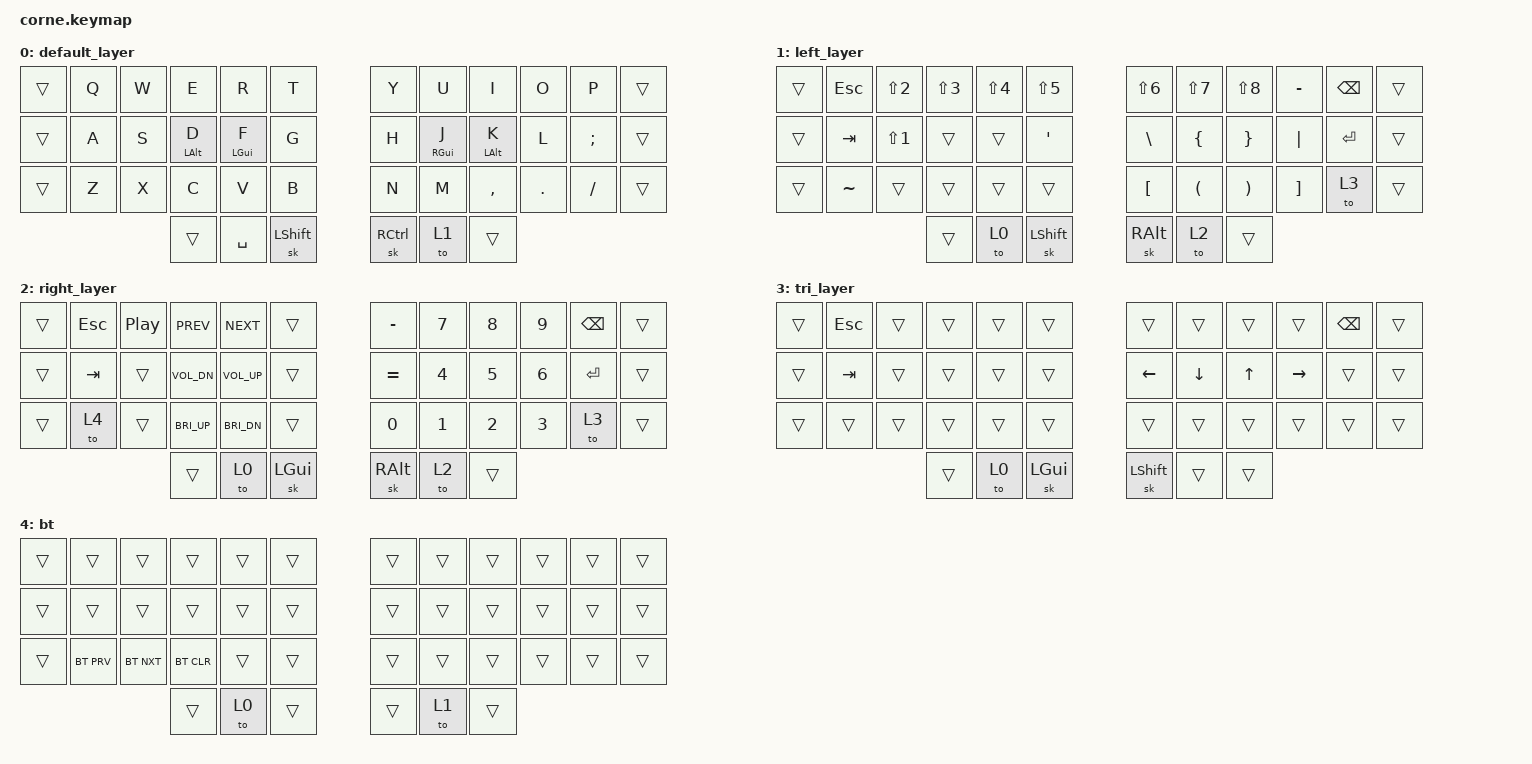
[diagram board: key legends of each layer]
/*
 * Copyright (c) 2020 The ZMK Contributors
 *
 * SPDX-License-Identifier: MIT
 */

#include <behaviors.dtsi>
#include <dt-bindings/zmk/keys.h>
#include <dt-bindings/zmk/bt.h>

/ {



     behaviors {
            hm: homerow_mods {
                compatible = "zmk,behavior-hold-tap";
                label = "HOMEROW_MODS";
                #binding-cells = <2>;
                tapping-term-ms = <200>;
                quick_tap_ms = <0>;
                flavor = "tap-preferred";
                bindings = <&kp>, <&kp>;
            };
        td: tapdance {
                compatible = "zmk,behavior-hold-tap";
                label = "TAPDANCE";
                #binding-cells = <2>;
                tapping-term-ms = <150>;
                quick_tap_ms = <0>;
                flavor = "tap-preferred";
                bindings = <&kp>, <&kp>;
            };
        };



        keymap {
                compatible = "zmk,keymap";

                default_layer {
                        bindings = <
   &trans  &kp Q &kp W &kp E &kp R &kp T               &kp Y &kp U  &kp I     &kp O   &kp P             &trans
   &trans  &kp A &kp S &hm LALT D &hm LGUI F &kp G     &kp H &hm RGUI J  &hm LALT K    &kp L   &kp SEMI &trans
   &trans  &kp Z &kp X &kp C &kp V &kp B               &kp N &kp M  &kp COMMA &kp DOT &kp FSLH          &trans
   &trans                &kp SPACE &sk LSHIFT           &sk RCTRL &to 1                                 &trans
                        >;
                };

                left_layer {
                        bindings = <
   &trans  &kp ESC     &kp LS(N2)   &kp LS(N3)  &kp LS(N4) &kp LS(N5)     &kp LS(N6)   &kp LS(N7)   &kp LS(N8)   &kp MINUS  &kp BSPC  &trans
   &trans  &kp TAB     &kp LS(N1)   &trans      &trans     &kp SQT        &kp BSLH     &kp LBRC     &kp RBRC     &kp PIPE   &kp ENTER &trans
   &trans  &kp TILDE   &trans       &trans      &trans     &trans         &kp LBKT     &kp LPRN     &kp RPRN     &kp RBKT   &to 3     &trans
   &trans                                      &to 0   &sk LSHIFT         &sk RALT &to 2                           &trans
                        >;
                };

                right_layer {
                        bindings = <
   &trans  &kp ESC &kp C_PP &kp C_PREV    &kp C_NEXT   &trans     &kp MINUS  &kp N7  &kp N8  &kp N9  &kp BSPC   &trans
   &trans  &kp TAB &trans   &kp C_VOL_DN  &kp C_VOL_UP &trans     &kp EQUAL  &kp N4  &kp N5  &kp N6  &kp ENTER  &trans
   &trans  &to 4   &trans   &kp C_BRI_UP  &kp C_BRI_DN &trans     &kp N0     &kp N1  &kp N2  &kp N3  &to 3      &trans
   &trans                        &to 0 &sk LGUI  	              &sk RALT &to 2                                &trans
                        >;
                };

                tri_layer {
                        bindings = <
   &trans  &kp ESC &trans &trans &trans &trans      &trans   &trans   &trans  &trans    &kp BSPC &trans
   &trans  &kp TAB &trans &trans &trans &trans      &kp LEFT &kp DOWN &kp UP  &kp RIGHT &trans   &trans
   &trans  &trans  &trans &trans &trans &trans      &trans   &trans   &trans  &trans    &trans   &trans
   &trans                    &to 0   &sk LGUI       &sk LSHIFT   &trans                                   &trans
                        >;
                };

                bt {
                        bindings = <
   &trans  &trans  &trans &trans &trans             &trans            &trans  &trans  &trans &trans &trans &trans
   &trans  &trans  &trans &trans &trans             &trans            &trans  &trans  &trans &trans &trans &trans
   &trans  &bt BT_PRV  &bt BT_NXT &bt BT_CLR &trans &trans            &trans  &trans  &trans &trans &trans &trans
   &trans                         &to 0 &trans                        &trans &to 1                         &trans
                        >;
                };
        };
};
